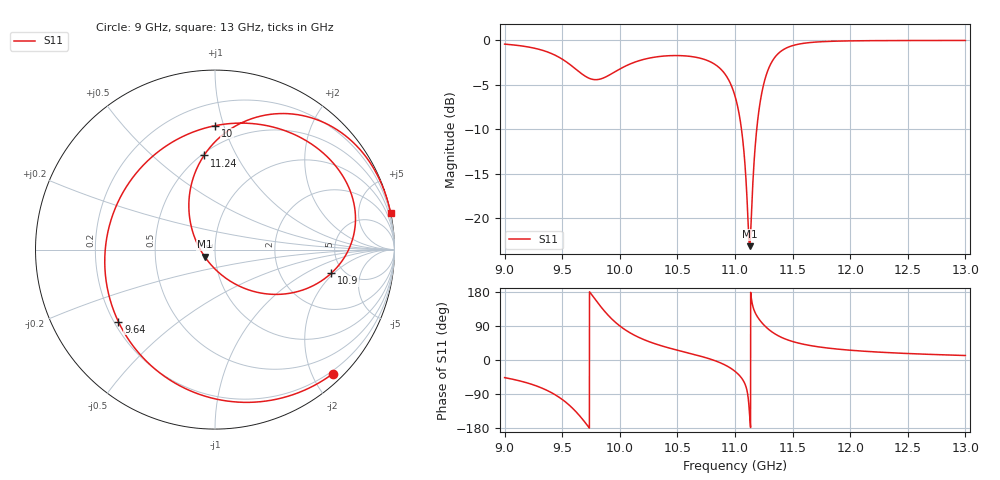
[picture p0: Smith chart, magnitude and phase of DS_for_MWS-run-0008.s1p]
! TOUCHSTONE file generated by CST DESIGN STUDIO
! Date and time: Tue Feb  4 16:44:49 2025
! Project name: C:\Work\MatlabApps\UnitCellOptimizationMatlab\CST\unitcell.cst
! Tree item: Tasks\Sweep1\SPara1\S-Parameters
! Header version: 2024
! Port assignment regex: !\s*Touchstone port\s*([0-9]+)\s*=\s*(CST MWS port|CST DES external port|CST DES block port)\s*(.+)\s* \(\"(.*)\"\)(\s*mode\s*([0-9]+))?.*
! Touchstone port assignment:
! Touchstone port 1 = CST DES external port 1 ("")
# GHz S MA R 50
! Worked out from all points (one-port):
!   4001 points, 9 GHz to 13 GHz, reference 50 ohm
!   lowest |S11| = -23.1 dB at 11.13 GHz (marker M1), VSWR 1.15, Z = 44.4 - j3.49 ohm
!   |S11| at or under -10 dB: 11.06 GHz to 11.19 GHz (132 MHz wide, 1.19 % of centre)
!   S11 on the Smith chart (normalised r, x): 9 GHz: 0.15, -2.32; 9.64 GHz: 0.22, -0.32; 10 GHz: 0.35, +0.94; 10.9 GHz: 3.99, -1.86; 11.24 GHz: 0.51, +0.75; 13 GHz: 0.01, +9.64
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9  0.9534 -46.5
9.265  0.9024 -67.2
9.398  0.8485 -84.8
9.5  0.7849 -104.1
9.64  0.6715 -143.3
9.715  0.621 -171.2
9.787  0.6016 159.6
9.893  0.6305 120.1
10  0.6906 89.9
10.226  0.7877 51.7
10.5  0.8222 25.8
10.734  0.7823 7.2
10.902  0.6614 -11.4
11  0.4869 -29.8
11.064  0.2887 -50.6
11.086  0.2029 -62.8
11.114  0.0938 -99.2
11.127  0.06968 -145.9
11.14  0.09582 167.1
11.186  0.3048 118.4
11.238  0.5279 96.7
11.286  0.6805 82.3
11.338  0.7908 70.6
11.5  0.9352 48.8
11.696  0.9786 36.0
12  0.9943 25.8
12.5  0.9989 17.1
13  0.9997 11.8
